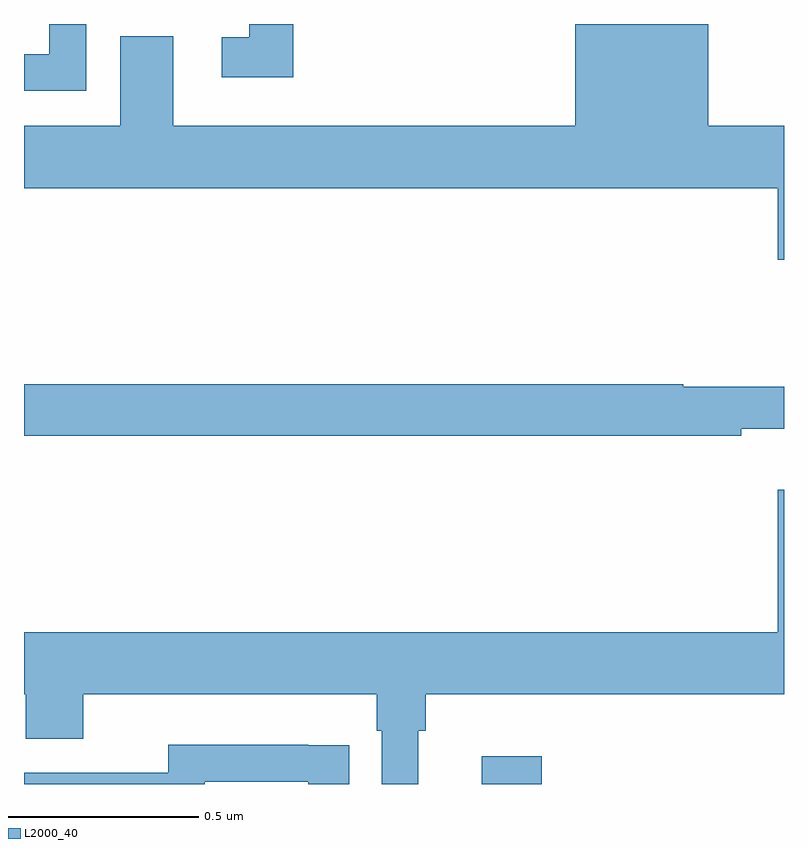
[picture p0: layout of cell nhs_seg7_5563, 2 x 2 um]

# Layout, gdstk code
import gdstk
lib = gdstk.Library(unit=1e-6, precision=1e-09)
def R(c, l, rs):  # rectangles x0, y0, x1, y1
    for r in rs: c.add(gdstk.rectangle(r[:2], r[2:], *l))
def P(c, l, *ps):  # polygons
    for p in ps: c.add(gdstk.Polygon(p, *l))
L2000_40 = (2000, 40)

nhs_seg7_5563 = lib.new_cell('nhs_seg7_5563')
R(nhs_seg7_5563, L2000_40, [(188.204,1047,188.363,1047.073)])
P(nhs_seg7_5563, L2000_40, [(189,1048.732),(188.8,1048.732),(188.8,1049),(188.45,1049),(188.45,1048.732),(187.393,1048.732),(187.393,1048.968),(187.253,1048.968),(187.253,1048.732),(187,1048.732),(187,1048.568),(188.984,1048.568),(188.984,1048.38),(189,1048.38)],
  [(187.709,1049),(187.593,1049),(187.593,1048.965),(187.521,1048.965),(187.521,1048.86),(187.709,1048.86)],
  [(187.164,1049),(187.067,1049),(187.067,1048.92),(187,1048.92),(187,1048.824),(187.164,1048.824)],
  [(188.888,1047.935),(189,1047.935),(189,1048.045),(188.735,1048.045),(188.735,1048.052),(187,1048.052),(187,1047.916),(188.888,1047.916)],
  [(187,1047.236),(187.004,1047.236),(187.004,1047.119),(187.156,1047.119),(187.156,1047.236),(187.928,1047.236),(187.928,1047.14),(187.941,1047.14),(187.941,1047),(188.038,1047),(188.038,1047.14),(188.057,1047.14),(188.057,1047.236),(189,1047.236),(189,1047.775),(188.984,1047.775),(188.984,1047.4),(187,1047.4)],
  [(187.476,1047.006),(187.748,1047.006),(187.748,1047),(187.856,1047),(187.856,1047.102),(187.748,1047.102),(187.748,1047.103),(187.38,1047.103),(187.38,1047.03),(187,1047.03),(187,1047),(187.476,1047)])

lib.write_gds('nhs_seg7_5563.gds')
